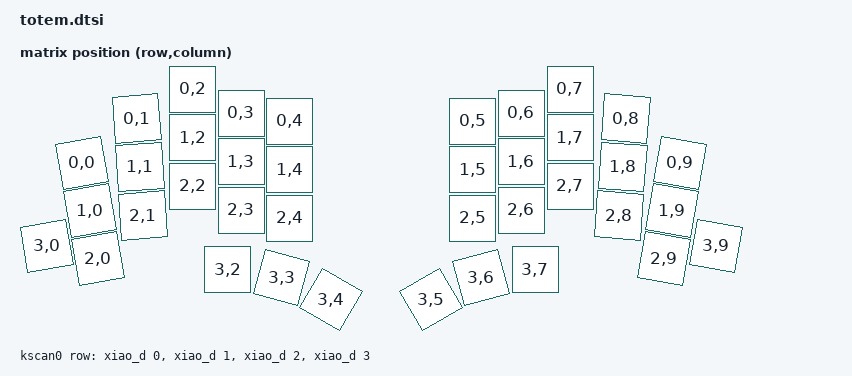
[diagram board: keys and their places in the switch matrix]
/*
 * Copyright (c) 2022 The ZMK Contributors
 *
 * SPDX-License-Identifier: MIT
 */

#include <dt-bindings/zmk/matrix_transform.h>
#include <physical_layouts.dtsi>

/ {
    chosen {
		zmk,physical-layout = &default_layout;
        zmk,kscan = &kscan0;
    };

    default_transform: keymap_transform0 {
        compatible = "zmk,matrix-transform";
        columns = <10>;
        rows = <4>;
//             | SW01  | SW02  | SW03  | SW04  | SW05  |  | SW05  | SW04  | SW03  | SW02  | SW01  |
//             | SW06  | SW07  | SW08  | SW09  | SW10  |  | SW10  | SW09  | SW08  | SW07  | SW06  | 
//      | SW16 | SW11  | SW12  | SW13  | SW14  | SW15  |  | SW15  | SW14  | SW13  | SW12  | SW11  | SW16  |
//                             | SW17  | SW18  | SW19  |  | SW19  | SW18  | SW17  | 
        map = <
                RC(0,0) RC(0,1) RC(0,2) RC(0,3) RC(0,4)    RC(0,5) RC(0,6) RC(0,7) RC(0,8) RC(0,9)
                RC(1,0) RC(1,1) RC(1,2) RC(1,3) RC(1,4)    RC(1,5) RC(1,6) RC(1,7) RC(1,8) RC(1,9)
        RC(3,0) RC(2,0) RC(2,1) RC(2,2) RC(2,3) RC(2,4)    RC(2,5) RC(2,6) RC(2,7) RC(2,8) RC(2,9) RC(3,9)
                                RC(3,2) RC(3,3) RC(3,4)    RC(3,5) RC(3,6) RC(3,7)         
        >;
    };


    kscan0: kscan_0 {
        compatible = "zmk,kscan-gpio-matrix";
        
        diode-direction = "col2row"; 
        row-gpios
            = <&xiao_d 0 (GPIO_ACTIVE_HIGH | GPIO_PULL_DOWN)>
            , <&xiao_d 1 (GPIO_ACTIVE_HIGH | GPIO_PULL_DOWN)>
            , <&xiao_d 2 (GPIO_ACTIVE_HIGH | GPIO_PULL_DOWN)>
            , <&xiao_d 3 (GPIO_ACTIVE_HIGH | GPIO_PULL_DOWN)>
            ;
    };

    default_layout: default_layout {
        compatible = "zmk,physical-layout";
        display-name = "Totem";
        transform = <&default_transform>;
        keys  //                     w   h    x    y     rot    rx    ry
            = <&key_physical_attrs 100 100   79  148 (-1000)   129   198>
            , <&key_physical_attrs 100 100  188   59  (-400)   238   109>
            , <&key_physical_attrs 100 100  300    0       0     0     0>
            , <&key_physical_attrs 100 100  397   48       0     0     0>
            , <&key_physical_attrs 100 100  494   64       0     0     0>
            , <&key_physical_attrs 100 100  860   64       0     0     0>
            , <&key_physical_attrs 100 100  957   48       0     0     0>
            , <&key_physical_attrs 100 100 1055    0       0     0     0>
            , <&key_physical_attrs 100 100 1166   59     400  1216   109>
            , <&key_physical_attrs 100 100 1275  148    1000  1325   198>
            , <&key_physical_attrs 100 100   95  243 (-1000)   145   293>
            , <&key_physical_attrs 100 100  195  156  (-400)   245   206>
            , <&key_physical_attrs 100 100  300   97       0     0     0>
            , <&key_physical_attrs 100 100  397  145       0     0     0>
            , <&key_physical_attrs 100 100  494  161       0     0     0>
            , <&key_physical_attrs 100 100  860  161       0     0     0>
            , <&key_physical_attrs 100 100  957  145       0     0     0>
            , <&key_physical_attrs 100 100 1055   97       0     0     0>
            , <&key_physical_attrs 100 100 1160  156     400  1210   206>
            , <&key_physical_attrs 100 100 1259  243    1000  1309   293>
            , <&key_physical_attrs 100 100    8  314 (-1000)    58   364>
            , <&key_physical_attrs 100 100  111  339 (-1000)   161   389>
            , <&key_physical_attrs 100 100  201  253  (-400)   251   303>
            , <&key_physical_attrs 100 100  300  194       0     0     0>
            , <&key_physical_attrs 100 100  397  242       0     0     0>
            , <&key_physical_attrs 100 100  494  258       0     0     0>
            , <&key_physical_attrs 100 100  860  258       0     0     0>
            , <&key_physical_attrs 100 100  957  242       0     0     0>
            , <&key_physical_attrs 100 100 1055  194       0     0     0>
            , <&key_physical_attrs 100 100 1153  253     400  1203   303>
            , <&key_physical_attrs 100 100 1243  339    1000  1293   389>
            , <&key_physical_attrs 100 100 1347  314    1000  1397   364>
            , <&key_physical_attrs 100 100  370  361       0     0     0>
            , <&key_physical_attrs 100 100  478  377    1500   528   427>
            , <&key_physical_attrs 100 100  577  421    3000   627   471>
            , <&key_physical_attrs 100 100  777  421 (-3000)   827   471>
            , <&key_physical_attrs 100 100  877  377 (-1500)   927   427>
            , <&key_physical_attrs 100 100  985  361       0     0     0>
            ;
    };
};

&pinctrl {
    spi0_default: spi0_default {
        group1 {
            psels = <NRF_PSEL(SPIM_SCK, 0, 5)>,
                <NRF_PSEL(SPIM_MOSI, 0, 4)>,
                <NRF_PSEL(SPIM_MISO, 0, 8)>;
        };
    };
    spi0_sleep: spi0_sleep {
        group1 {
            psels = <NRF_PSEL(SPIM_SCK, 0, 5)>,
                <NRF_PSEL(SPIM_MOSI, 0, 4)>,
                <NRF_PSEL(SPIM_MISO, 0, 8)>;
            low-power-enable;
        };
    };    
};


nice_view_spi: &spi0 {
    compatible = "nordic,nrf-spim";
    pinctrl-0 = <&spi0_default>;
    pinctrl-1 = <&spi0_sleep>;
    pinctrl-names = "default", "sleep";
    cs-gpios = <&gpio0 10 GPIO_ACTIVE_HIGH>;
};

&nice_view_spi {
    status = "okay";
    nice_view: ls0xx@0 {
        compatible = "nice_view,ls0xx";
        spi-max-frequency = <2000000>;
        reg = <0>;
        width = <160>;
        height = <68>;
        //disp-en-gpios = <&gpio0 6 GPIO_ACTIVE_HIGH>; //testing setting this to 6 from 23
    };
};

/ {
  chosen {
    zephyr,display = &nice_view;
  };
};

&usbd {
	status = "okay";
};

&xiao_serial { status = "disabled"; };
